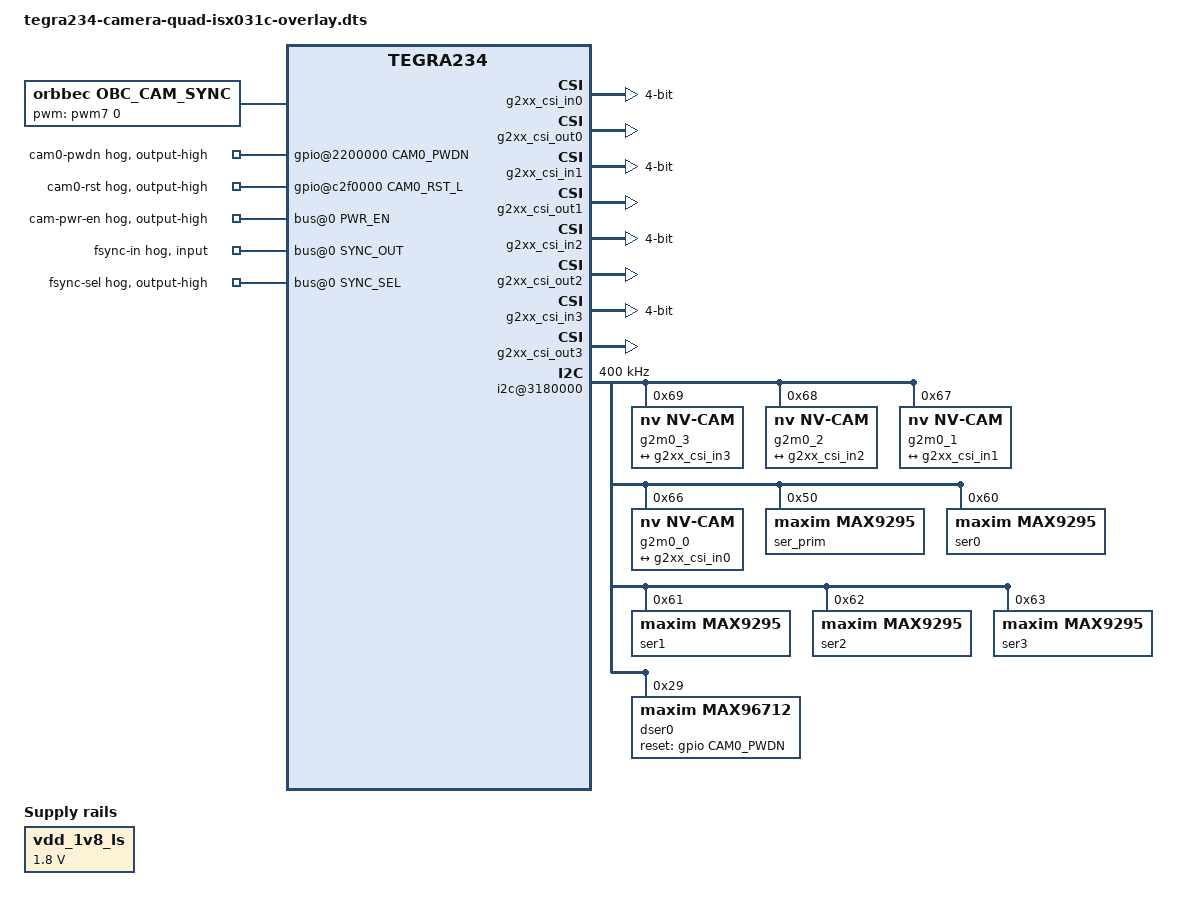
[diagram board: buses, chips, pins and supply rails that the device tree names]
// SPDX-License-Identifier: GPL-2.0-only
// SPDX-FileCopyrightText: Copyright (c) 2024-2029, Orbbec CORPORATION.  All rights reserved.


#include <dt-bindings/clock/tegra234-clock.h>
#include <dt-bindings/gpio/tegra234-gpio.h>
#include <dt-bindings/tegra234-p3767-0000-common.h>
#include <dt-bindings/pinctrl/pinctrl-tegra.h>
//MFP9 TEGRA234 MAIN GPIO(AC，0)
//MFP10  TEGRA234 MAIN GPIO(Z，7)
//MPP2   TEGRA_AON_GPIO(G, 6)

#define CAM0_RST_L	TEGRA234_AON_GPIO(CC, 3)
#define CAM0_PWDN   TEGRA234_MAIN_GPIO(H, 6)
#define PWR_EN      TEGRA234_MAIN_GPIO(AC, 7)
#define SYNC_OUT   	TEGRA234_MAIN_GPIO(G, 6)
#define SYNC_IN    	TEGRA234_MAIN_GPIO(AC, 4) //
#define SYNC_SEL   	TEGRA234_MAIN_GPIO(AC, 2)
#define PPS_TRIGGER	TEGRA234_MAIN_GPIO(AC, 0) //
#define CAMERA_I2C_MUX_BUS(x) (0x1E + x)
/{
	vdd_1v8_ls: regulator-vdd-1v8-ls {
			compatible = "regulator-fixed";
			regulator-name = "VDD_1V8_LS";
			regulator-min-microvolt = <1800000>;
			regulator-max-microvolt = <1800000>;
			regulator-always-on;
	};


	/* Orbbec Camera configuration */
	tegra-capture-vi {
		num-channels = <32>;
		ports {
			status = "okay";
			#address-cells = <1>;
			#size-cells = <0>;

			port@0 {
				reg = <0x0>;
				status = "okay";
				g2xx_vi_in0: endpoint {
					status = "okay";
					vc-id = <0>;
					port-index = <0>; //0
					bus-width = <4>;
					remote-endpoint = <&g2xx_csi_out0>;
				};
			};
			port@1 {
				reg = <0x1>;
				status = "okay";
				g2xx_vi_in1: endpoint {
					status = "okay";
					vc-id = <1>;
					port-index = <1>; //0
					bus-width = <4>;
					remote-endpoint = <&g2xx_csi_out1>;
				};
			};
			port@2 {
				reg = <0x2>;
				status = "okay";
				g2xx_vi_in2: endpoint {
					status = "okay";
					vc-id = <2>;
					port-index = <2>; //0
					bus-width = <4>;
					remote-endpoint = <&g2xx_csi_out2>;
				};
			};
			port@3 {
				reg = <0x3>;
				status = "okay";
				g2xx_vi_in3: endpoint {
					status = "okay";
					vc-id = <3>;
					port-index = <3>; //0
					bus-width = <4>;
					remote-endpoint = <&g2xx_csi_out3>;
				};
			};
		};
	};

	tegra-camera-platform {
		#if 0
		compatible = "nvidia, tegra-camera-platform";
		num_csi_lanes = <16>;
		max_lane_speed = <20000000>;
		min_bits_per_pixel = <8>;
		vi_peak_byte_per_pixel = <2>;
		vi_bw_margin_pct = <25>;
		isp_peak_byte_per_pixel = <5>;
		isp_bw_margin_pct = <25>;
		#endif
		modules {
			status = "okay";
			module0 {
				status = "okay";
				badge = "g2xx_0";
				position = "bottomleft";
				orientation = "1";

				drivernode0 {
					status = "okay";
					/* Declare PCL support driver (classically known as guid)  */
					pcl_id = "v4l2_sensor";
					/* Declare the device-tree hierarchy to driver instance */
					sysfs-device-tree = "/sys/firmware/devicetree/base/bus@0/i2c@3180000/g0m0@66";
				};

				drivernode1 {
					status = "okay";
					/* Declare PCL support driver (classically known as guid)  */
					pcl_id = "v4l2_sensor";
					/* Declare the device-tree hierarchy to driver instance */
					sysfs-device-tree = "/sys/firmware/devicetree/base/bus@0/i2c@3180000/g0m1@67";
				};

				drivernode2 {
					status = "okay";
					/* Declare PCL support driver (classically known as guid)  */
					pcl_id = "v4l2_sensor";
					/* Declare the device-tree hierarchy to driver instance */
					sysfs-device-tree = "/sys/firmware/devicetree/base/bus@0/i2c@3180000/g0m2@68";
				};

				drivernode3 {
					status = "okay";
					/* Declare PCL support driver (classically known as guid)  */
					pcl_id = "v4l2_sensor";
					/* Declare the device-tree hierarchy to driver instance */
					sysfs-device-tree = "/sys/firmware/devicetree/base/bus@0/i2c@3180000/g0m3@69";
				};
			};
		};
	};

	obc_cam_sync {
		compatible = "orbbec,obc_cam_sync";
		//sync-in-gpios = <&gpio SYNC_IN GPIO_ACTIVE_HIGH>;
		//sync-out-gpios = <&gpio_aon SYNC_OUT GPIO_ACTIVE_HIGH>;  //Use hrtimer to generate trigger signals
		pwms = <&pwm7 0 66666666>; //33333333>; //Use PWM to generate trigger signals, Default PWM mode, if use hrtimer comment out this line
	};
	bus@0 {
		/* NVCSI configuration */
		host1x@13e00000 {
			nvcsi@15a00000 {
				#address-cells = <1>;
				#size-cells = <0>;

				num-channels = <32>;

				channel@0 {
					reg = <0x0>;
					status = "okay";
					ports {
						status = "okay";
						#address-cells = <1>;
						#size-cells = <0>;
						port@0 {
							reg = <0>;
							status = "okay";
							g2xx_csi_in0: endpoint@0 {
								status = "okay";
								port-index = <0>; //0
								bus-width = <4>;
								remote-endpoint = <&g2m0_0_out>;
							};
						};
						port@1 {
							reg = <1>;
							status = "okay";
							g2xx_csi_out0: endpoint@1 {
								status = "okay";
								remote-endpoint = <&g2xx_vi_in0>;
							};
						};
					};
				};
				channel@1 {
					reg = <0x1>;
					status = "okay";
					ports {
						status = "okay";
						#address-cells = <1>;
						#size-cells = <0>;
						port@0 {
							reg = <0>;
							status = "okay";
							g2xx_csi_in1: endpoint@2 {
								status = "okay";
								port-index = <1>; //0
								bus-width = <4>;
								remote-endpoint = <&g2m0_1_out>;
							};
						};
						port@1 {
							reg = <1>;
							status = "okay";
							g2xx_csi_out1: endpoint@3 {
								status = "okay";
								remote-endpoint = <&g2xx_vi_in1>;
							};
						};
					};
				};
				channel@2 {
					reg = <0x2>;
					status = "okay";
					ports {
						status = "okay";
						#address-cells = <1>;
						#size-cells = <0>;
						port@0 {
							reg = <0>;
							status = "okay";
							g2xx_csi_in2: endpoint@4 {
								status = "okay";
								port-index = <2>; //0
								bus-width = <4>;
								remote-endpoint = <&g2m0_2_out>;
							};
						};
						port@1 {
							reg = <1>;
							status = "okay";
							g2xx_csi_out2: endpoint@5 {
								status = "okay";
								remote-endpoint = <&g2xx_vi_in2>;
							};
						};
					};
				};
				channel@3 {
					reg = <0x3>;
					status = "okay";
					ports {
						status = "okay";
						#address-cells = <1>;
						#size-cells = <0>;
						port@0 {
							reg = <0>;
							status = "okay";
							g2xx_csi_in3: endpoint@6 {
								status = "okay";
								port-index = <3>; //0
								bus-width = <4>;
								remote-endpoint = <&g2m0_3_out>;
							};
						};
						port@1 {
							reg = <1>;
							status = "okay";
							g2xx_csi_out3: endpoint@7 {
								status = "okay";
								remote-endpoint = <&g2xx_vi_in3>;
							};
						};
					};
				};
			};
		};

		/* GPIO configuration */
		gpio@2200000 {
			camera-control-output-high1 {
				gpio-hog;
				output-high;
				gpios = <CAM0_PWDN 0>;
				label = "cam0-pwdn";
			};
		};

		gpio@c2f0000 {
			camera-control-output-high2 {
				gpio-hog;
				output-high;
				gpios = <CAM0_RST_L 0>;
				label = "cam0-rst";
			};
		};


		camera_power_enable {
			gpio-hog;
			output-high;
			gpios = <PWR_EN GPIO_ACTIVE_HIGH>;
			label = "cam-pwr-en";
		};

		camera_fsync_input {
			gpio-hog;
			input;
			gpios = <SYNC_OUT 0>;
			label = "fsync-in";
		};

		camera_fsync_sel {
			gpio-hog;
			output-high;
			gpios = <SYNC_SEL 0>;
			label = "fsync-sel";
		};

		/* I2C configuration */
		i2c@3180000 {
			status = "okay";
			clock-frequency = <400000>;

			#address-cells = <1>;
			#size-cells = <0>;

			g2m0_3: g2m3@69 {
				status = "okay";
				reg = <0x69>;
				compatible = "nv,nv-cam";
				nvidia,gmsl-ser-device=<&ser3>;
				// pps-gpios = <&gpio PPS_TRIGGER GPIO_ACTIVE_LOW>;
//				pwdn-gpios = <&CAM_SER_LABEL 0 GPIO_ACTIVE_HIGH>;
				nv,pwdn-sleep-us = <500000>;

				// reset-gpios = <&CAM_SER_LABEL 7 GPIO_ACTIVE_HIGH>;

				physical_w = "15.0";
				physical_h = "12.5";

				sensor_model = "isx031";

				use_sensor_mode_id = "true";

				nv,reg-bits = <16>;
				nv,val-bits = <8>;

				nv,chip-id-regs = <0x7e8a 0x7e8b>;
				nv,chip-id-masks = <0xff 0x0f>;
				nv,chip-id-vals = <0x31 0x0>;

				nv,wait-ms-cmd = <0x32>;

				nv,mode-common-cmd = <
					0x8a01 0x00 /* Stream off */
					0x8af0 0x01
					0xbf14 0x01 /* SW reset */
				>;

				nv,start-stream-cmd = <
					0x8a01 0x80 /* Stream on */
				>;

				nv,stop-stream-cmd = <0x8a01 0x00>;

				ports {
					#address-cells = <1>;
					#size-cells = <0>;

					port@0 {
						reg = <0>;
						g2m0_3_out: endpoint {
							vc-id = <3>;
							port-index = <0>; //0
							bus-width = <3>;
							remote-endpoint = <&g2xx_csi_in3>;
						};
					};
				};
				mode0 {
					nv,mode-cmd = <0>;
			#if defined(CAM_USE_AD_GAIN)
					nv,gain-type = "ad";

					nv,again-min = <16>;
					nv,again-max = <248>;
					nv,again-regs = <0x3508 0x3509>;
					nv,again-source-masks = <0xf0 0x0f>;
					nv,again-target-masks = <0x0f 0xf0>;

					nv,dgain-min = <1024>;
					nv,dgain-max = <16383>;
					nv,dgain-regs = <0x350a 0x350b 0x350c>;
					nv,dgain-source-masks = <0x3c00 0x3fc 0x3>;
					nv,dgain-target-masks = <0x0f 0xff 0xc000>;
			#endif

					mclk_khz = "24000";
					set_mode_delay_ms = "5000";
					num_lanes = "4";
					tegra_sinterface = "b";
					vc_id = "3";
					phy_mode = "DPHY";
					discontinuous_clk = "no";
					dpcm_enable = "false";
					cil_settletime = "0";
			#ifdef GMSL_TEGRA_LANE_POLARITY_SWAP
					lane_polarity = "6";
			#endif
					//1536
					active_w = "1920";
					active_h = "1536";

					readout_orientation = "0";
					csi_pixel_bit_depth = "16";
					dynamic_pixel_bit_depth = "16";
					mode_type = "yuv";
					pixel_phase = "uyvy";


					line_length = "2200";
					inherent_gain = "1";
					pix_clk_hz = "200000000"; 
			//		pix_clk_hz = "88473600"; 
					serdes_link_freq = "300000000";
					// serdes_pix_clk_hz = "375000000";

			#if defined(CAM_USE_AD_GAIN)
					gain_factor = "16384";
					min_gain_val = "16384"; /* 1.00x */
					max_gain_val = "4062984"; /* 247.984863281x ((16 - 8/16) * (16 - 1/1024)) */
					step_gain_val = "1";
					default_gain = "16384"; /* 1.00x */
			#else
					gain_factor = "1000";
					min_gain_val = "1"; /* 1.00x */
					max_gain_val = "30000"; /* 15.5x (16 - 1/16) */
					step_gain_val = "300";
					default_gain = "16"; /* 1.00x */
			#endif

					min_hdr_ratio = "1";
					max_hdr_ratio = "1";

					framerate_factor = "1000000";
					min_framerate = "30000000"; /* 30.0 fps */
					max_framerate = "30000000"; /* 30.0 fps */
					step_framerate = "1";
					default_framerate = "30000000"; /* 30.0 fps */

					exposure_factor = "1000000";
					min_exp_time = "59"; /* us */
					max_exp_time = "33333"; /* us */
					step_exp_time = "1";
					default_exp_time = "33333"; /* us */

					embedded_metadata_height = "0";
				};

				gmsl-link { 
					src-csi-port = "d";  		/**< Sensor to serializer CSI port connection. */
					dst-csi-port = "b";			/**< Deserializer to Jetson CSI port connection. */
					serdes-csi-link = "d";		/**< GMSL link between serializer and deserializer devices. */
					csi-mode = "1x4";			/**< Deserializer CSI mode. */
					st-vc = <3>;   				/**< Default sensor virtual channel. */
					vc-id = <3>;				/**< Destination virtual channel (user-defined). */
					num-lanes = <2>;			/**< Sensor's CSI lane configuration. */
				};
			};
			g2m0_2: g2m2@68 {
				status = "okay";
				reg = <0x68>;
				compatible = "nv,nv-cam";
				// pps-gpios = <&gpio PPS_TRIGGER GPIO_ACTIVE_LOW>;
//				pwdn-gpios = <&CAM_SER_LABEL 0 GPIO_ACTIVE_HIGH>;
				nv,pwdn-sleep-us = <500000>;

				// reset-gpios = <&CAM_SER_LABEL 7 GPIO_ACTIVE_HIGH>;

				physical_w = "15.0";
				physical_h = "12.5";

				sensor_model = "isx031";

				use_sensor_mode_id = "true";

				nv,reg-bits = <16>;
				nv,val-bits = <8>;

				nv,chip-id-regs = <0x7e8a 0x7e8b>;
				nv,chip-id-masks = <0xff 0x0f>;
				nv,chip-id-vals = <0x31 0x0>;

				nv,wait-ms-cmd = <0x32>;

				nv,mode-common-cmd = <
					0x8a01 0x00 /* Stream off */
					0x8af0 0x01
					0xbf14 0x01 /* SW reset */
				>;

				nv,start-stream-cmd = <
					0x8a01 0x80 /* Stream on */
				>;

				nv,stop-stream-cmd = <0x8a01 0x00>;
				ports {
					#address-cells = <1>;
					#size-cells = <0>;

					port@0 {
						reg = <0>;
						g2m0_2_out: endpoint {
							vc-id = <2>;
							port-index = <0>; //0
							bus-width = <2>;
							remote-endpoint = <&g2xx_csi_in2>;
						};
					};
				};
				mode0 {
					nv,mode-cmd = <0>;
			#if defined(CAM_USE_AD_GAIN)
					nv,gain-type = "ad";

					nv,again-min = <16>;
					nv,again-max = <248>;
					nv,again-regs = <0x3508 0x3509>;
					nv,again-source-masks = <0xf0 0x0f>;
					nv,again-target-masks = <0x0f 0xf0>;

					nv,dgain-min = <1024>;
					nv,dgain-max = <16383>;
					nv,dgain-regs = <0x350a 0x350b 0x350c>;
					nv,dgain-source-masks = <0x3c00 0x3fc 0x3>;
					nv,dgain-target-masks = <0x0f 0xff 0xc000>;
			#endif

					mclk_khz = "24000";
					set_mode_delay_ms = "5000";
					num_lanes = "4";
					tegra_sinterface = "b";
					vc_id = "2";
					phy_mode = "DPHY";
					discontinuous_clk = "no";
					dpcm_enable = "false";
					cil_settletime = "0";
			#ifdef GMSL_TEGRA_LANE_POLARITY_SWAP
					lane_polarity = "6";
			#endif
					//1536
					active_w = "1920";
					active_h = "1536";

					readout_orientation = "0";
					csi_pixel_bit_depth = "16";
					dynamic_pixel_bit_depth = "16";
					mode_type = "yuv";
					pixel_phase = "uyvy";


					line_length = "2200";
					inherent_gain = "1";
					pix_clk_hz = "200000000"; 
			//		pix_clk_hz = "88473600"; 
					serdes_link_freq = "300000000";
					// serdes_pix_clk_hz = "375000000";

			#if defined(CAM_USE_AD_GAIN)
					gain_factor = "16384";
					min_gain_val = "16384"; /* 1.00x */
					max_gain_val = "4062984"; /* 247.984863281x ((16 - 8/16) * (16 - 1/1024)) */
					step_gain_val = "1";
					default_gain = "16384"; /* 1.00x */
			#else
					gain_factor = "1000";
					min_gain_val = "1"; /* 1.00x */
					max_gain_val = "30000"; /* 15.5x (16 - 1/16) */
					step_gain_val = "300";
					default_gain = "16"; /* 1.00x */
			#endif

					min_hdr_ratio = "1";
					max_hdr_ratio = "1";

					framerate_factor = "1000000";
					min_framerate = "30000000"; /* 30.0 fps */
					max_framerate = "30000000"; /* 30.0 fps */
					step_framerate = "1";
					default_framerate = "30000000"; /* 30.0 fps */

					exposure_factor = "1000000";
					min_exp_time = "59"; /* us */
					max_exp_time = "33333"; /* us */
					step_exp_time = "1";
					default_exp_time = "33333"; /* us */

					embedded_metadata_height = "0";
				};

				gmsl-link { 
					src-csi-port = "c";  		/**< Sensor to serializer CSI port connection. */
					dst-csi-port = "b";			/**< Deserializer to Jetson CSI port connection. */
					serdes-csi-link = "c";		/**< GMSL link between serializer and deserializer devices. */
					csi-mode = "1x4";			/**< Deserializer CSI mode. */
					st-vc = <2>;   				/**< Default sensor virtual channel. */
					vc-id = <2>;				/**< Destination virtual channel (user-defined). */
					num-lanes = <2>;			/**< Sensor's CSI lane configuration. */
				};
			};
			g2m0_1: g2m1@67 {
				status = "okay";
				reg = <0x67>;
				compatible = "nv,nv-cam";
				nvidia,gmsl-ser-device=<&ser1>;
				// pps-gpios = <&gpio PPS_TRIGGER GPIO_ACTIVE_LOW>;
//				pwdn-gpios = <&CAM_SER_LABEL 0 GPIO_ACTIVE_HIGH>;
				nv,pwdn-sleep-us = <500000>;

				// reset-gpios = <&CAM_SER_LABEL 7 GPIO_ACTIVE_HIGH>;

				physical_w = "15.0";
				physical_h = "12.5";

				sensor_model = "isx031";

				use_sensor_mode_id = "true";

				nv,reg-bits = <16>;
				nv,val-bits = <8>;

				nv,chip-id-regs = <0x7e8a 0x7e8b>;
				nv,chip-id-masks = <0xff 0x0f>;
				nv,chip-id-vals = <0x31 0x0>;

				nv,wait-ms-cmd = <0x32>;

				nv,mode-common-cmd = <
					0x8a01 0x00 /* Stream off */
					0x8af0 0x01
					0xbf14 0x01 /* SW reset */
				>;

				nv,start-stream-cmd = <
					0x8a01 0x80 /* Stream on */
				>;

				nv,stop-stream-cmd = <0x8a01 0x00>;
				ports {
					#address-cells = <1>;
					#size-cells = <0>;

					port@0 {
						reg = <0>;
						g2m0_1_out: endpoint {
							vc-id = <1>;
							port-index = <0>; //0
							bus-width = <2>;
							remote-endpoint = <&g2xx_csi_in1>;
						};
					};
				};
				mode0 {
					nv,mode-cmd = <0>;
			#if defined(CAM_USE_AD_GAIN)
					nv,gain-type = "ad";

					nv,again-min = <16>;
					nv,again-max = <248>;
					nv,again-regs = <0x3508 0x3509>;
					nv,again-source-masks = <0xf0 0x0f>;
					nv,again-target-masks = <0x0f 0xf0>;

					nv,dgain-min = <1024>;
					nv,dgain-max = <16383>;
					nv,dgain-regs = <0x350a 0x350b 0x350c>;
					nv,dgain-source-masks = <0x3c00 0x3fc 0x3>;
					nv,dgain-target-masks = <0x0f 0xff 0xc000>;
			#endif

					mclk_khz = "24000";
					set_mode_delay_ms = "5000";
					num_lanes = "4";
					tegra_sinterface = "a";
					vc_id = "1";
					phy_mode = "DPHY";
					discontinuous_clk = "no";
					dpcm_enable = "false";
					cil_settletime = "0";
			#ifdef GMSL_TEGRA_LANE_POLARITY_SWAP
					lane_polarity = "6";
			#endif
					//1536
					active_w = "1920";
					active_h = "1536";

					readout_orientation = "0";
					csi_pixel_bit_depth = "16";
					dynamic_pixel_bit_depth = "16";
					mode_type = "yuv";
					pixel_phase = "uyvy";


					line_length = "2200";
					inherent_gain = "1";
					pix_clk_hz = "200000000"; 
			//		pix_clk_hz = "88473600"; 
					serdes_link_freq = "300000000";
					// serdes_pix_clk_hz = "375000000";

			#if defined(CAM_USE_AD_GAIN)
					gain_factor = "16384";
					min_gain_val = "16384"; /* 1.00x */
					max_gain_val = "4062984"; /* 247.984863281x ((16 - 8/16) * (16 - 1/1024)) */
					step_gain_val = "1";
					default_gain = "16384"; /* 1.00x */
			#else
					gain_factor = "1000";
					min_gain_val = "1"; /* 1.00x */
					max_gain_val = "30000"; /* 15.5x (16 - 1/16) */
					step_gain_val = "300";
					default_gain = "16"; /* 1.00x */
			#endif

					min_hdr_ratio = "1";
					max_hdr_ratio = "1";

					framerate_factor = "1000000";
					min_framerate = "30000000"; /* 30.0 fps */
					max_framerate = "30000000"; /* 30.0 fps */
					step_framerate = "1";
					default_framerate = "30000000"; /* 30.0 fps */

					exposure_factor = "1000000";
					min_exp_time = "59"; /* us */
					max_exp_time = "33333"; /* us */
					step_exp_time = "1";
					default_exp_time = "33333"; /* us */

					embedded_metadata_height = "0";
				};

				gmsl-link { 
					src-csi-port = "b";  		/**< Sensor to serializer CSI port connection. */
					dst-csi-port = "a";			/**< Deserializer to Jetson CSI port connection. */
					serdes-csi-link = "b";		/**< GMSL link between serializer and deserializer devices. */
					csi-mode = "1x4";			/**< Deserializer CSI mode. */
					st-vc = <1>;   				/**< Default sensor virtual channel. */
					vc-id = <1>;				/**< Destination virtual channel (user-defined). */
					num-lanes = <2>;			/**< Sensor's CSI lane configuration. */
				};
			};
			g2m0_0: g2m0@66 {
				status = "okay";
				reg = <0x66>;
				compatible = "nv,nv-cam";
				nvidia,gmsl-ser-device=<&ser0>;
				// pps-gpios = <&gpio PPS_TRIGGER GPIO_ACTIVE_LOW>;
//				pwdn-gpios = <&CAM_SER_LABEL 0 GPIO_ACTIVE_HIGH>;
				nv,pwdn-sleep-us = <500000>;

				// reset-gpios = <&CAM_SER_LABEL 7 GPIO_ACTIVE_HIGH>;

				physical_w = "15.0";
				physical_h = "12.5";

				sensor_model = "isx031";

				use_sensor_mode_id = "true";

				nv,reg-bits = <16>;
				nv,val-bits = <8>;

				nv,chip-id-regs = <0x7e8a 0x7e8b>;
				nv,chip-id-masks = <0xff 0x0f>;
				nv,chip-id-vals = <0x31 0x0>;

				nv,wait-ms-cmd = <0x32>;

				nv,mode-common-cmd = <
					0x8a01 0x00 /* Stream off */
					0x8af0 0x01
					0xbf14 0x01 /* SW reset */
				>;

				nv,start-stream-cmd = <
					0x8a01 0x80 /* Stream on */
				>;

				nv,stop-stream-cmd = <0x8a01 0x00>;
				ports {
					#address-cells = <1>;
					#size-cells = <0>;

					port@0 {
						reg = <0>;
						g2m0_0_out: endpoint {
							vc-id = <0>;
							port-index = <0>; //0
							bus-width = <2>;
							remote-endpoint = <&g2xx_csi_in0>;
						};
					};
				};
				mode0 {
					nv,mode-cmd = <0>;
			#if defined(CAM_USE_AD_GAIN)
					nv,gain-type = "ad";

					nv,again-min = <16>;
					nv,again-max = <248>;
					nv,again-regs = <0x3508 0x3509>;
					nv,again-source-masks = <0xf0 0x0f>;
					nv,again-target-masks = <0x0f 0xf0>;

					nv,dgain-min = <1024>;
					nv,dgain-max = <16383>;
					nv,dgain-regs = <0x350a 0x350b 0x350c>;
					nv,dgain-source-masks = <0x3c00 0x3fc 0x3>;
					nv,dgain-target-masks = <0x0f 0xff 0xc000>;
			#endif

					mclk_khz = "24000";
					set_mode_delay_ms = "5000";
					num_lanes = "4";
					tegra_sinterface = "a";
					vc_id = "0";
					phy_mode = "DPHY";
					discontinuous_clk = "no";
					dpcm_enable = "false";
					cil_settletime = "0";
			#ifdef GMSL_TEGRA_LANE_POLARITY_SWAP
					lane_polarity = "6";
			#endif
					//1536
					active_w = "1920";
					active_h = "1536";

					readout_orientation = "0";
					csi_pixel_bit_depth = "16";
					dynamic_pixel_bit_depth = "16";
					mode_type = "yuv";
					pixel_phase = "uyvy";


					line_length = "2200";
					inherent_gain = "1";
					pix_clk_hz = "200000000"; 
			//		pix_clk_hz = "88473600"; 
					serdes_link_freq = "300000000";
					// serdes_pix_clk_hz = "375000000";

			#if defined(CAM_USE_AD_GAIN)
					gain_factor = "16384";
					min_gain_val = "16384"; /* 1.00x */
					max_gain_val = "4062984"; /* 247.984863281x ((16 - 8/16) * (16 - 1/1024)) */
					step_gain_val = "1";
					default_gain = "16384"; /* 1.00x */
			#else
					gain_factor = "1000";
					min_gain_val = "1"; /* 1.00x */
					max_gain_val = "30000"; /* 15.5x (16 - 1/16) */
					step_gain_val = "300";
					default_gain = "16"; /* 1.00x */
			#endif

					min_hdr_ratio = "1";
					max_hdr_ratio = "1";

					framerate_factor = "1000000";
					min_framerate = "30000000"; /* 30.0 fps */
					max_framerate = "30000000"; /* 30.0 fps */
					step_framerate = "1";
					default_framerate = "30000000"; /* 30.0 fps */

					exposure_factor = "1000000";
					min_exp_time = "59"; /* us */
					max_exp_time = "33333"; /* us */
					step_exp_time = "1";
					default_exp_time = "33333"; /* us */

					embedded_metadata_height = "0";
				};

				gmsl-link { 
					src-csi-port = "a";  		/**< Sensor to serializer CSI port connection. */
					dst-csi-port = "a";			/**< Deserializer to Jetson CSI port connection. */
					serdes-csi-link = "a";		/**< GMSL link between serializer and deserializer devices. */
					csi-mode = "1x4";			/**< Deserializer CSI mode. */
					st-vc = <0>;   				/**< Default sensor virtual channel. */
					vc-id = <0>;				/**< Destination virtual channel (user-defined). */
					num-lanes = <2>;			/**< Sensor's CSI lane configuration. */
				};
			};
			//4 max9295  serializer connect to 4 camera
			ser_prim: max9295_prim@50 {
				compatible = "maxim,max9295";
				reg = <0x50>;
				is-prim-ser; /* primary ser device */
			};
			ser0: max9295_0@60 {
				compatible = "maxim,max9295";
				reg = <0x60>;
				gmsl-dser-device = <&dser0>;
			};
			ser1: max9295_1@61 {
				compatible = "maxim,max9295";
				reg = <0x61>;
				gmsl-dser-device = <&dser0>;
			};
			ser2: max9295_2@62 {
				compatible = "maxim,max9295";
				reg = <0x62>;
				gmsl-dser-device = <&dser0>;
			};
			ser3: max9295_3@63 {
				compatible = "maxim,max9295";
				reg = <0x63>;
				gmsl-dser-device = <&dser0>;
			};

			dser0: max96712@29 {
				status = "okay";
				reg = <0x29>; //0x52>>1
				compatible = "maxim,max96712";
				index = <0>;
				csi-mode = "2x4"; //2*4lane
				seri-addr = <0x60>;
				proxy-addr = <0x66>;
				real-addr = <0x1a>;
				reset-gpios = <&gpio CAM0_PWDN GPIO_ACTIVE_HIGH>;
				fsync_mfp_index = <2>;
				pps_mfp_index = <9>;
			};
		};
	};
};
